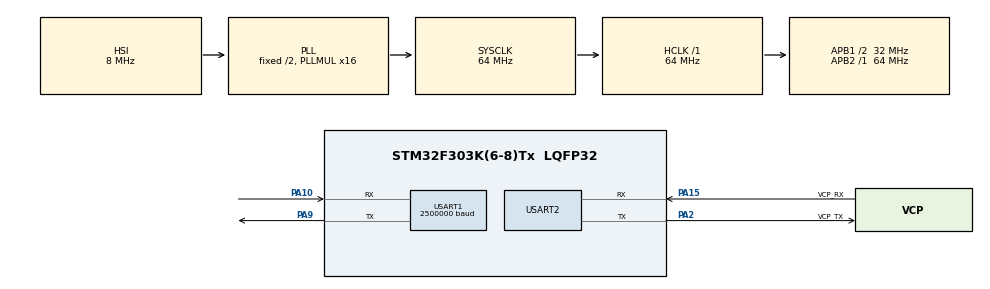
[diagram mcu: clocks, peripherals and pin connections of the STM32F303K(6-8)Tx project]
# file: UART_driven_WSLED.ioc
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Mcu.Family=STM32F3
Mcu.Name=STM32F303K(6-8)Tx
Mcu.Package=LQFP32
NVIC.PriorityGroup=NVIC_PRIORITYGROUP_4
PA10.Mode=Asynchronous
PA10.Signal=USART1_RX
PA13.GPIO_Label=SWDIO
PA13.Mode=Serial_Wire
PA13.Signal=SYS_JTMS-SWDIO
PA14.GPIO_Label=SWCLK
PA14.Mode=Serial_Wire
PA14.Signal=SYS_JTCK-SWCLK
PA15.GPIO_Label=VCP_RX
PA15.Mode=Asynchronous
PA15.Signal=USART2_RX
PA2.GPIO_Label=VCP_TX
PA2.Mode=Asynchronous
PA2.Signal=USART2_TX
PA9.Mode=Asynchronous
PA9.Signal=USART1_TX
PF0\ /\ OSC_IN.GPIO_Label=MCO
PF0\ /\ OSC_IN.Mode=HSE-External-Clock-Source
PF0\ /\ OSC_IN.Signal=RCC_OSC_IN
ProjectManager.HeapSize=0x200
ProjectManager.StackSize=0x400
ProjectManager.TargetToolchain=STM32CubeIDE
RCC.AHBFreq_Value=64000000
RCC.APB1CLKDivider=RCC_HCLK_DIV2
RCC.APB1Freq_Value=32000000
RCC.APB1TimFreq_Value=64000000
RCC.APB2Freq_Value=64000000
RCC.APB2TimFreq_Value=64000000
RCC.CortexFreq_Value=64000000
RCC.HCLKFreq_Value=64000000
RCC.HSE_VALUE=8000000
RCC.HSI_VALUE=8000000
RCC.PLLMUL=RCC_PLL_MUL16
RCC.SYSCLKFreq_VALUE=64000000
RCC.SYSCLKSourceVirtual=RCC_SYSCLKSOURCE_PLLCLK
RCC.Usart1ClockSelection=RCC_USART1CLKSOURCE_SYSCLK
USART1.BaudRate=2500000
USART1.DataInvertParam=ADVFEATURE_DATAINV_DISABLE
USART1.Mode=MODE_TX
USART1.OneBitSampling=UART_ONE_BIT_SAMPLE_DISABLE
USART1.OverSampling=UART_OVERSAMPLING_8
USART1.TxPinLevelInvertParam=ADVFEATURE_TXINV_ENABLE
USART1.VirtualMode-Asynchronous=VM_ASYNC
USART1.WordLength=WORDLENGTH_7B
USART2.VirtualMode-Asynchronous=VM_ASYNC
board=NUCLEO-F303K8

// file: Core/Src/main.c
/* USER CODE BEGIN Header */
/**
  ******************************************************************************
  * @file           : main.c
  * @brief          : Main program body
  ******************************************************************************
  * @attention
  *
  * <h2><center>&copy; Copyright (c) 2021 STMicroelectronics.
  * All rights reserved.</center></h2>
  *
  * This software component is licensed by ST under BSD 3-Clause license,
  * the "License"; You may not use this file except in compliance with the
  * License. You may obtain a copy of the License at:
  *                        opensource.org/licenses/BSD-3-Clause
  *
  ******************************************************************************
  */
/* USER CODE END Header */
#include "main.h"

/* USER CODE BEGIN Includes */
#include <math.h>
/* USER CODE END Includes */

/* USER CODE BEGIN PTD */
typedef union
{
  struct{
    uint8_t g;
    uint8_t r;
    uint8_t b;
  }RGB;
  uint32_t bytes;
}Color;
/* USER CODE END PTD */

/* USER CODE BEGIN PD */
#define LED_NUM (12)
#define LED_BUF_SIZE (LED_NUM * 8)
/* USER CODE END PD */

UART_HandleTypeDef huart1;
UART_HandleTypeDef huart2;

/* USER CODE BEGIN PV */
Color color[LED_NUM];
uint8_t led_buf[LED_BUF_SIZE];
const float dtheta = 2.f * M_PI / 1000.f;
float theta = 0;
/* USER CODE END PV */

void SystemClock_Config(void);
static void MX_GPIO_Init(void);
static void MX_USART2_UART_Init(void);
static void MX_USART1_UART_Init(void);
/* USER CODE BEGIN PFP */
uint8_t set_buf(uint8_t input);
uint8_t color_table(float theta);
/* USER CODE END PFP */

/* USER CODE BEGIN 0 */
void tick_cb(void)
{
  // Set RGB color
  for (int i = 0; i < LED_NUM; ++i)
  {
    color[i].RGB.r = color_table(2.f * M_PI * i / LED_NUM + 0.f * M_PI / 3.f + theta);
    color[i].RGB.g = color_table(2.f * M_PI * i / LED_NUM + 2.f * M_PI / 3.f + theta);
    color[i].RGB.b = color_table(2.f * M_PI * i / LED_NUM + 4.f * M_PI / 3.f + theta);
  }

  // Increment color angle
  theta += dtheta;
  for (; theta > 2.f*M_PI; theta-=2.f*M_PI);
  for (; theta < 0; theta+=2.f*M_PI);

  // Convert rgb to output buffer array
  for (int i = 0; i<LED_NUM; ++i)
  {
    led_buf[i * 8 + 0] = set_buf(color[i].bytes >> 21);
    led_buf[i * 8 + 1] = set_buf(color[i].bytes >> 18);
    led_buf[i * 8 + 2] = set_buf(color[i].bytes >> 15);
    led_buf[i * 8 + 3] = set_buf(color[i].bytes >> 12);
    led_buf[i * 8 + 4] = set_buf(color[i].bytes >>  9);
    led_buf[i * 8 + 5] = set_buf(color[i].bytes >>  6);
    led_buf[i * 8 + 6] = set_buf(color[i].bytes >>  3);
    led_buf[i * 8 + 7] = set_buf(color[i].bytes >>  0);
  }

  // Transmit buffer
  HAL_UART_Transmit(&huart1, led_buf, LED_BUF_SIZE, 1000);
}

uint8_t set_buf(uint8_t input)
{
  uint8_t ui8 = 0x24;
  if (input & 0x01)
  {
    ui8 |= 0x40;
  }
  if (input & 0x02)
  {
    ui8 |= 0x08;
  }
  if (input & 0x04)
  {
    ui8 |= 0x01;
  }
  return ~ui8;
}

uint8_t color_table(float theta)
{
  theta /= 2.f * M_PI;
  for (; theta > 1.f; theta-=1.f);
  for (; theta < 0; theta+=1.f);
  uint8_t tmp;
  if (theta * 6.f < 1.f)
  {
    tmp = 0;
  }
  else if(theta * 6.f < 2.f)
  {
    tmp = (theta * 6.f - 1.f) * 255;
  }
  else if(theta * 6.f < 4.f)
  {
    tmp = 255;
  }
  else if(theta * 6.f < 5.f)
  {
    tmp = (5.f - theta * 6.f) * 255;
  }
  else
  {
    tmp = 0;
  }
  return tmp;
}

/* USER CODE END 0 */

int main(void)
{

  /* MCU Configuration--------------------------------------------------------*/

  /* Reset of all peripherals, Initializes the Flash interface and the Systick. */
  HAL_Init();

  /* Configure the system clock */
  SystemClock_Config();

  /* Initialize all configured peripherals */
  MX_GPIO_Init();
  MX_USART2_UART_Init();
  MX_USART1_UART_Init();

  /* Infinite loop */
  while (1)
  {

  }
}

void SystemClock_Config(void)
{
  RCC_OscInitTypeDef RCC_OscInitStruct = {0};
  RCC_ClkInitTypeDef RCC_ClkInitStruct = {0};
  RCC_PeriphCLKInitTypeDef PeriphClkInit = {0};

  /** Initializes the RCC Oscillators according to the specified parameters
  * in the RCC_OscInitTypeDef structure.
  */
  RCC_OscInitStruct.OscillatorType = RCC_OSCILLATORTYPE_HSI;
  RCC_OscInitStruct.HSIState = RCC_HSI_ON;
  RCC_OscInitStruct.HSICalibrationValue = RCC_HSICALIBRATION_DEFAULT;
  RCC_OscInitStruct.PLL.PLLState = RCC_PLL_ON;
  RCC_OscInitStruct.PLL.PLLSource = RCC_PLLSOURCE_HSI;
  RCC_OscInitStruct.PLL.PLLMUL = RCC_PLL_MUL16;
  if (HAL_RCC_OscConfig(&RCC_OscInitStruct) != HAL_OK)
  {
    Error_Handler();
  }
  /** Initializes the CPU, AHB and APB buses clocks
  */
  RCC_ClkInitStruct.ClockType = RCC_CLOCKTYPE_HCLK|RCC_CLOCKTYPE_SYSCLK
                              |RCC_CLOCKTYPE_PCLK1|RCC_CLOCKTYPE_PCLK2;
  RCC_ClkInitStruct.SYSCLKSource = RCC_SYSCLKSOURCE_PLLCLK;
  RCC_ClkInitStruct.AHBCLKDivider = RCC_SYSCLK_DIV1;
  RCC_ClkInitStruct.APB1CLKDivider = RCC_HCLK_DIV2;
  RCC_ClkInitStruct.APB2CLKDivider = RCC_HCLK_DIV1;

  if (HAL_RCC_ClockConfig(&RCC_ClkInitStruct, FLASH_LATENCY_2) != HAL_OK)
  {
    Error_Handler();
  }
  PeriphClkInit.PeriphClockSelection = RCC_PERIPHCLK_USART1;
  PeriphClkInit.Usart1ClockSelection = RCC_USART1CLKSOURCE_SYSCLK;
  if (HAL_RCCEx_PeriphCLKConfig(&PeriphClkInit) != HAL_OK)
  {
    Error_Handler();
  }
}

static void MX_USART1_UART_Init(void)
{

  huart1.Instance = USART1;
  huart1.Init.BaudRate = 2500000;
  huart1.Init.WordLength = UART_WORDLENGTH_7B;
  huart1.Init.StopBits = UART_STOPBITS_1;
  huart1.Init.Parity = UART_PARITY_NONE;
  huart1.Init.Mode = UART_MODE_TX;
  huart1.Init.HwFlowCtl = UART_HWCONTROL_NONE;
  huart1.Init.OverSampling = UART_OVERSAMPLING_8;
  huart1.Init.OneBitSampling = UART_ONE_BIT_SAMPLE_DISABLE;
  huart1.AdvancedInit.AdvFeatureInit = UART_ADVFEATURE_TXINVERT_INIT;
  huart1.AdvancedInit.TxPinLevelInvert = UART_ADVFEATURE_TXINV_ENABLE;
  if (HAL_UART_Init(&huart1) != HAL_OK)
  {
    Error_Handler();
  }

}

static void MX_USART2_UART_Init(void)
{

  huart2.Instance = USART2;
  huart2.Init.BaudRate = 38400;
  huart2.Init.WordLength = UART_WORDLENGTH_8B;
  huart2.Init.StopBits = UART_STOPBITS_1;
  huart2.Init.Parity = UART_PARITY_NONE;
  huart2.Init.Mode = UART_MODE_TX_RX;
  huart2.Init.HwFlowCtl = UART_HWCONTROL_NONE;
  huart2.Init.OverSampling = UART_OVERSAMPLING_16;
  huart2.Init.OneBitSampling = UART_ONE_BIT_SAMPLE_DISABLE;
  huart2.AdvancedInit.AdvFeatureInit = UART_ADVFEATURE_NO_INIT;
  if (HAL_UART_Init(&huart2) != HAL_OK)
  {
    Error_Handler();
  }

}

static void MX_GPIO_Init(void)
{

  /* GPIO Ports Clock Enable */
  __HAL_RCC_GPIOF_CLK_ENABLE();
  __HAL_RCC_GPIOA_CLK_ENABLE();

}

void Error_Handler(void)
{
  __disable_irq();
  while (1)
  {
  }
}

/************************ (C) COPYRIGHT STMicroelectronics *****END OF FILE****/
